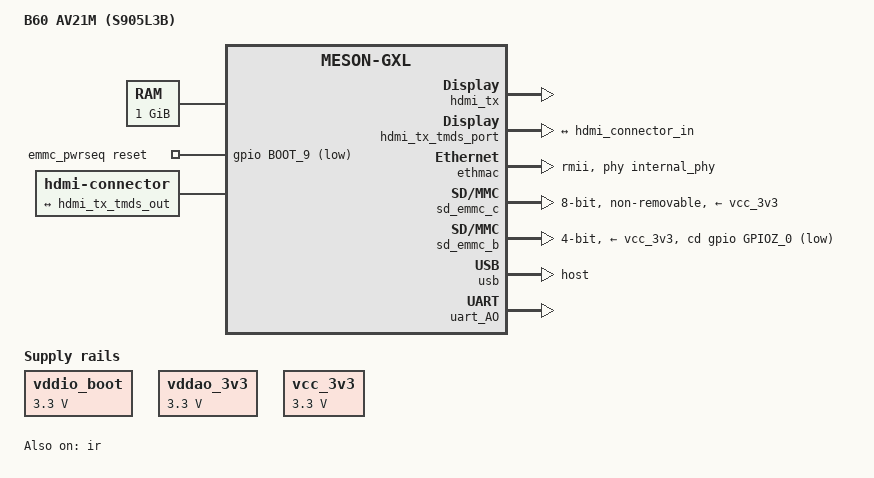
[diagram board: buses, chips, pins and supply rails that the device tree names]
// SPDX-License-Identifier: GPL-2.0-or-later OR MIT
/dts-v1/;

#include "meson-gxl-s905x.dtsi"

/ {
	model = "B60 AV21M (S905L3B)";
	compatible = "yangjianjun,b60-av21m", "amlogic,s905l3b", "amlogic,meson-gxl";

	aliases {
		serial0 = &uart_AO;
		ethernet0 = &ethmac;
	};

	chosen {
		stdout-path = "serial0:115200n8";
	};

	memory@0 {
		device_type = "memory";
		reg = <0x0 0x0 0x0 0x40000000>;
	};

	vddio_boot: regulator-vddio_boot {
		compatible = "regulator-fixed";
		regulator-name = "VDDIO_BOOT";
		regulator-min-microvolt = <3300000>;
		regulator-max-microvolt = <3300000>;
	};

	vddao_3v3: regulator-vddao_3v3 {
		compatible = "regulator-fixed";
		regulator-name = "VDDAO_3V3";
		regulator-min-microvolt = <3300000>;
		regulator-max-microvolt = <3300000>;
	};

	vcc_3v3: regulator-vcc_3v3 {
		compatible = "regulator-fixed";
		regulator-name = "VCC_3V3";
		regulator-min-microvolt = <3300000>;
		regulator-max-microvolt = <3300000>;
	};

	emmc_pwrseq: emmc-pwrseq {
		compatible = "mmc-pwrseq-emmc";
		reset-gpios = <&gpio BOOT_9 GPIO_ACTIVE_LOW>;
	};

	hdmi-connector {
		compatible = "hdmi-connector";
		type = "a";

		port {
			hdmi_connector_in: endpoint {
				remote-endpoint = <&hdmi_tx_tmds_out>;
			};
		};
	};
};

&hdmi_tx {
	status = "okay";
	pinctrl-0 = <&hdmi_hpd_pins>, <&hdmi_i2c_pins>;
	pinctrl-names = "default";
	hdmi-supply = <&vcc_3v3>;
};

&hdmi_tx_tmds_port {
	hdmi_tx_tmds_out: endpoint {
		remote-endpoint = <&hdmi_connector_in>;
	};
};

&ethmac {
	status = "okay";
	phy-mode = "rmii";
	phy-handle = <&internal_phy>;
};

&sd_emmc_c {
	status = "okay";
	pinctrl-0 = <&emmc_pins>, <&emmc_ds_pins>;
	pinctrl-1 = <&emmc_clk_gate_pins>;
	pinctrl-names = "default", "clk-gate";
	bus-width = <8>;
	cap-mmc-highspeed;
	mmc-ddr-1_8v;
	mmc-hs200-1_8v;
	max-frequency = <100000000>;
	non-removable;
	disable-wp;
	mmc-pwrseq = <&emmc_pwrseq>;
	vmmc-supply = <&vcc_3v3>;
	vqmmv-supply = <&vddio_boot>;
};

&sd_emmc_b {
	status = "okay";
	pinctrl-0 = <&sdcard_pins>;
	pinctrl-1 = <&sdcard_clk_gate_pins>;
	pinctrl-names = "default", "clk-gate";
	bus-width = <4>;
	cap-sd-highspeed;
	max-frequency = <50000000>;
	disable-wp;
	cd-gpios = <&gpio GPIOZ_0 GPIO_ACTIVE_LOW>;
	vmmc-supply = <&vcc_3v3>;
	vqmmc-supply = <&vddio_boot>;
};

&usb {
	status = "okay";
	dr_mode = "host";
};

&ir {
	status = "okay";
	pinctrl-0 = <&remote_input_ao_pins>;
	pinctrl-names = "default";
};

&uart_AO {
	status = "okay";
	pinctrl-0 = <&uart_ao_a_pins>;
	pinctrl-names = "default";
};
